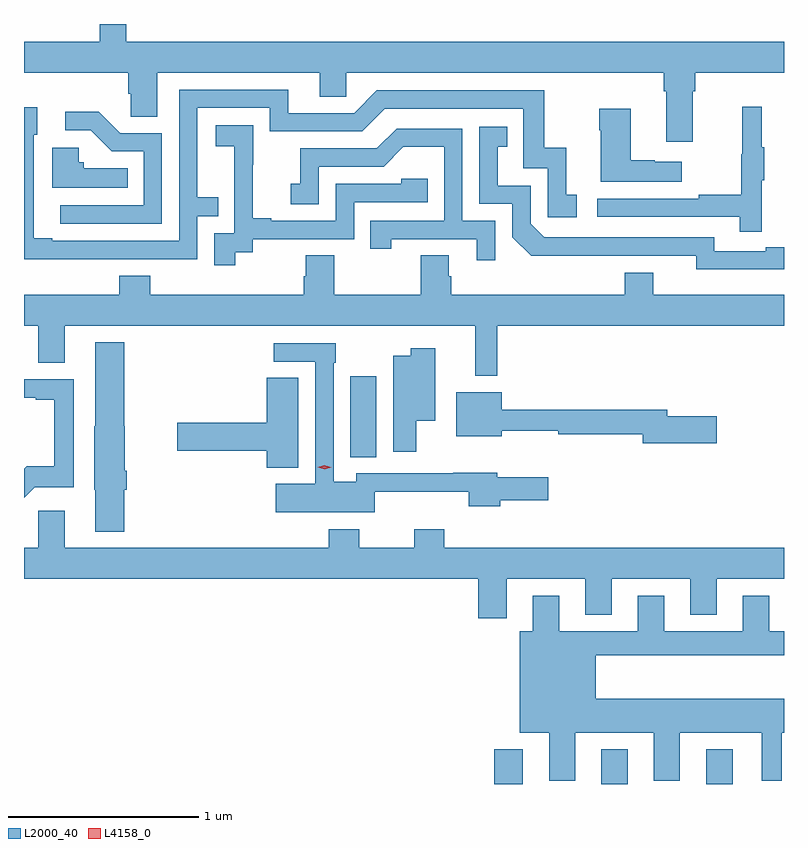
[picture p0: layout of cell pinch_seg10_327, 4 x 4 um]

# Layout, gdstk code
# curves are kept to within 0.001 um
import gdstk
lib = gdstk.Library(unit=1e-6, precision=1e-09)
def R(c, l, rs):  # rectangles x0, y0, x1, y1
    for r in rs: c.add(gdstk.rectangle(r[:2], r[2:], *l))
def P(c, l, *ps):  # polygons
    for p in ps: c.add(gdstk.Polygon(p, *l))
L2000_40 = (2000, 40)
L4158_0 = (4158, 0)

pinch_seg10_327 = lib.new_cell('pinch_seg10_327')
R(pinch_seg10_327, L2000_40, [(481.577,1273.929,481.729,1274.113), (482.141,1273.929,482.281,1274.113), (482.693,1273.929,482.833,1274.113), (480.821,1275.649,480.958,1276.075)])
P(pinch_seg10_327, L2000_40, [(482.623,1277.576),(482.636,1277.576),(482.636,1277.672),(483.103,1277.672),(483.103,1277.836),(479.641,1277.836),(479.641,1277.929),(479.501,1277.929),(479.501,1277.836),(479.103,1277.836),(479.103,1277.672),(479.651,1277.672),(479.651,1277.563),(479.664,1277.563),(479.664,1277.44),(479.803,1277.44),(479.803,1277.672),(480.659,1277.672),(480.659,1277.545),(480.798,1277.545),(480.798,1277.672),(482.471,1277.672),(482.471,1277.576),(482.483,1277.576),(482.483,1277.31),(482.623,1277.31)],
  [(479.519,1276.692),(480.015,1276.692),(480.015,1276.917),(480.125,1276.917),(480.125,1277.018),(480.015,1277.018),(480.015,1277.487),(480.396,1277.487),(480.396,1277.364),(480.882,1277.364),(481.002,1277.484),(481.731,1277.484),(481.731,1277.169),(481.86,1277.169),(481.86,1276.911),(482.011,1276.911),(482.011,1277.031),(481.958,1277.031),(481.958,1277.278),(481.84,1277.278),(481.84,1277.58),(480.96,1277.58),(480.84,1277.46),(480.493,1277.46),(480.493,1277.583),(479.919,1277.583),(479.919,1276.788),(479.251,1276.788),(479.251,1276.801),(479.154,1276.801),(479.154,1277.346),(479.173,1277.346),(479.173,1277.491),(479.103,1277.491),(479.103,1276.691)],
  [(482.987,1277.107),(482.998,1277.107),(482.998,1277.281),(482.987,1277.281),(482.987,1277.494),(482.884,1277.494),(482.884,1277.244),(482.877,1277.244),(482.877,1277.03),(482.653,1277.03),(482.653,1277.01),(482.121,1277.01),(482.121,1276.914),(482.869,1276.914),(482.869,1276.836),(482.987,1276.836)],
  [(482.566,1277.203),(482.423,1277.203),(482.423,1277.213),(482.296,1277.213),(482.296,1277.482),(482.131,1277.482),(482.131,1277.369),(482.138,1277.369),(482.138,1277.099),(482.566,1277.099)],
  [(479.829,1277.355),(479.61,1277.355),(479.497,1277.468),(479.319,1277.468),(479.319,1277.37),(479.453,1277.37),(479.564,1277.259),(479.733,1277.259),(479.733,1276.974),(479.295,1276.974),(479.295,1276.878),(479.829,1276.878)],
  [(480.214,1276.729),(480.306,1276.729),(480.306,1276.797),(480.84,1276.797),(480.84,1276.992),(481.229,1276.992),(481.229,1277.115),(481.089,1277.115),(481.089,1277.088),(480.744,1277.088),(480.744,1276.893),(480.403,1276.893),(480.403,1276.906),(480.308,1276.906),(480.308,1277.189),(480.309,1277.189),(480.309,1277.395),(480.111,1277.395),(480.111,1277.285),(480.209,1277.285),(480.209,1277.057),(480.21,1277.057),(480.21,1276.827),(480.105,1276.827),(480.105,1276.659),(480.214,1276.659)],
  [(483.008,1276.638),(483.103,1276.638),(483.103,1276.754),(483.008,1276.754),(483.008,1276.734),(482.736,1276.734),(482.736,1276.806),(481.842,1276.806),(481.77,1276.878),(481.77,1277.079),(481.597,1277.079),(481.597,1277.283),(481.646,1277.283),(481.646,1277.389),(481.5,1277.389),(481.5,1276.983),(481.674,1276.983),(481.674,1276.806),(481.772,1276.709),(482.64,1276.71),(482.64,1276.637)],
  [(481.584,1276.893),(481.41,1276.893),(481.41,1277.379),(481.064,1277.379),(480.959,1277.274),(480.556,1277.274),(480.556,1277.089),(480.507,1277.089),(480.507,1276.98),(480.654,1276.98),(480.654,1277.178),(480.996,1277.178),(481.1,1277.282),(481.314,1277.282),(481.314,1276.893),(480.925,1276.893),(480.925,1276.746),(481.036,1276.746),(481.036,1276.797),(481.487,1276.797),(481.487,1276.686),(481.584,1276.686)],
  [(479.648,1277.17),(479.418,1277.17),(479.418,1277.202),(479.391,1277.202),(479.391,1277.278),(479.252,1277.278),(479.252,1277.066),(479.648,1277.066)],
  [(481.595,1276.34),(483.103,1276.34),(483.103,1276.504),(482.416,1276.504),(482.416,1276.621),(482.264,1276.621),(482.264,1276.504),(481.352,1276.504),(481.352,1276.602),(481.339,1276.602),(481.339,1276.712),(481.192,1276.712),(481.192,1276.504),(480.735,1276.504),(480.735,1276.712),(480.587,1276.712),(480.587,1276.602),(480.575,1276.602),(480.575,1276.504),(479.768,1276.504),(479.768,1276.603),(479.603,1276.603),(479.603,1276.504),(479.103,1276.504),(479.103,1276.34),(479.177,1276.34),(479.177,1276.146),(479.317,1276.146),(479.317,1276.34),(481.478,1276.34),(481.478,1276.077),(481.595,1276.077)],
  [(479.63,1275.477),(479.645,1275.477),(479.645,1275.577),(479.632,1275.577),(479.632,1275.813),(479.63,1275.813),(479.63,1276.255),(479.477,1276.255),(479.477,1275.813),(479.474,1275.813),(479.474,1275.477),(479.477,1275.477),(479.477,1275.257),(479.63,1275.257)],
  [(480.948,1275.467),(481.445,1275.467),(481.445,1275.392),(481.61,1275.392),(481.61,1275.422),(481.861,1275.422),(481.861,1275.544),(481.593,1275.544),(481.593,1275.566),(481.361,1275.566),(481.361,1275.564),(480.852,1275.564),(480.852,1275.52),(480.732,1275.52),(480.732,1276.145),(480.745,1276.145),(480.745,1276.248),(480.417,1276.248),(480.417,1276.152),(480.636,1276.152),(480.636,1275.508),(480.429,1275.508),(480.429,1275.359),(480.948,1275.359)],
  [(481.168,1275.842),(481.267,1275.842),(481.267,1276.222),(481.138,1276.222),(481.138,1276.183),(481.046,1276.183),(481.046,1275.678),(481.168,1275.678)],
  [(480.547,1276.067),(480.38,1276.067),(480.38,1275.83),(479.91,1275.83),(479.91,1275.683),(480.38,1275.683),(480.38,1275.593),(480.547,1275.593)],
  [(479.16,1275.492),(479.365,1275.492),(479.365,1276.059),(479.103,1276.059),(479.103,1275.963),(479.165,1275.963),(479.165,1275.951),(479.261,1275.951),(479.261,1275.602),(479.117,1275.602),(479.103,1275.588),(479.103,1275.435)],
  [(482.749,1275.864),(482.488,1275.864),(482.488,1275.898),(481.618,1275.898),(481.618,1275.991),(481.379,1275.991),(481.379,1275.758),(481.618,1275.758),(481.618,1275.787),(481.914,1275.787),(481.914,1275.769),(482.36,1275.769),(482.36,1275.722),(482.749,1275.722)],
  [(481.645,1275.008),(482.057,1275.008),(482.057,1274.819),(482.197,1274.819),(482.197,1275.008),(482.609,1275.008),(482.609,1274.819),(482.749,1274.819),(482.749,1275.008),(483.103,1275.008),(483.103,1275.172),(481.316,1275.172),(481.316,1275.271),(481.156,1275.271),(481.156,1275.172),(480.867,1275.172),(480.867,1275.271),(480.707,1275.271),(480.707,1275.172),(479.317,1275.172),(479.317,1275.367),(479.178,1275.367),(479.178,1275.172),(479.103,1275.172),(479.103,1275.008),(481.493,1275.008),(481.493,1274.802),(481.645,1274.802)],
  [(482.005,1274.198),(482.417,1274.198),(482.417,1273.947),(482.554,1273.947),(482.554,1274.198),(482.987,1274.198),(482.987,1273.947),(483.091,1273.947),(483.091,1274.198),(483.103,1274.198),(483.103,1274.377),(482.113,1274.377),(482.113,1274.606),(483.103,1274.606),(483.103,1274.734),(483.025,1274.734),(483.025,1274.92),(482.885,1274.92),(482.885,1274.734),(482.473,1274.734),(482.473,1274.92),(482.333,1274.92),(482.333,1274.734),(481.921,1274.734),(481.921,1274.92),(481.781,1274.92),(481.781,1274.734),(481.712,1274.734),(481.712,1274.198),(481.868,1274.198),(481.868,1273.947),(482.005,1273.947)])
P(pinch_seg10_327, L4158_0, [(480.685,1275.586),(480.65,1275.595),(480.65,1275.595),(480.65,1275.595),(480.684,1275.606),(480.719,1275.597),(480.719,1275.597),(480.719,1275.597)])

lib.write_gds('pinch_seg10_327.gds')
